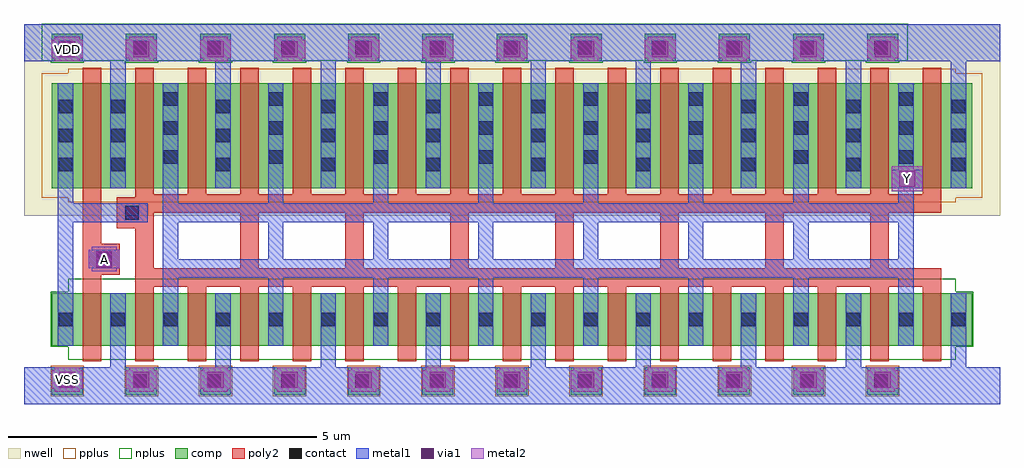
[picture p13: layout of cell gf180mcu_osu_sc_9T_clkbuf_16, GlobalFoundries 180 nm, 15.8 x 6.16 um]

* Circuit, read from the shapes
.subckt gf180mcu_osu_sc_9T_clkbuf_16 A VDD VSS Y
XM1 VSS A n1 VSS nfet_03v3 w=0.85u l=0.3u
XM2 Y n1 VSS VSS nfet_03v3 w=0.85u l=0.3u m=16
XM3 VDD A n1 VDD pfet_03v3 w=1.7u l=0.3u
XM4 Y n1 VDD VDD pfet_03v3 w=1.7u l=0.3u m=16
.ends

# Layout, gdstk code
import gdstk
lib = gdstk.Library(unit=1e-6, precision=1e-09)
def R(c, l, rs):  # rectangles x0, y0, x1, y1
    for r in rs: c.add(gdstk.rectangle(r[:2], r[2:], *l))
def A(c, l, x, y, w, h, nx, ny, dx, dy):  # array of equal rectangles
    R(c, l, [(x+i*dx, y+j*dy, x+i*dx+w, y+j*dy+h) for i in range(nx) for j in range(ny)])
nwell = (21, 0)
comp = (22, 0)
poly2 = (30, 0)
pplus = (31, 0)
nplus = (32, 0)
contact = (33, 0)
metal1 = (34, 0)
via1 = (35, 0)
metal2 = (36, 0)

gf180mcu_osu_sc_9t_clkbu = lib.new_cell('gf180mcu_osu_sc_9T_clkbuf_16')
R(gf180mcu_osu_sc_9t_clkbu, nwell, [(0,3.05,15.8,6.15)])
A(gf180mcu_osu_sc_9t_clkbu, comp, 0.45, 0.15, 0.5, 0.45, 12, 2, 1.2, 5.4)
R(gf180mcu_osu_sc_9t_clkbu, comp, [(0.45,0.95,15.35,1.8), (0.45,3.5,15.35,5.2)])
A(gf180mcu_osu_sc_9t_clkbu, poly2, 1.8, 0.7, 0.3, 1.2, 16, 1, 0.85, 0)
A(gf180mcu_osu_sc_9t_clkbu, poly2, 3.5, 2.2, 0.3, 0.9, 7, 1, 1.7, 0)
A(gf180mcu_osu_sc_9t_clkbu, poly2, 1.8, 3.4, 0.3, 2.05, 16, 1, 0.85, 0)
R(gf180mcu_osu_sc_9t_clkbu, poly2, [(0.95,0.7,1.25,2.1), (1.8,1.9,14.85,2.2), (0.95,2.1,1.55,2.6), (1.8,2.2,2.1,2.85), (0.95,2.6,1.25,5.45), (1.5,2.85,2.1,3.1), (1.5,3.1,14.85,3.35), (1.8,3.35,14.85,3.4)])
A(gf180mcu_osu_sc_9t_clkbu, pplus, 0.43, 0.13, 0.54, 0.49, 12, 1, 1.2, 0)
R(gf180mcu_osu_sc_9t_clkbu, pplus, [(0.72,3.27,15.08,3.34), (0.29,3.34,15.51,5.36), (0.72,5.36,15.08,5.43)])
A(gf180mcu_osu_sc_9t_clkbu, nplus, 0.43, 5.53, 0.54, 0.03, 12, 1, 1.2, 0)
R(gf180mcu_osu_sc_9t_clkbu, nplus, [(0.72,0.72,15.08,0.93), (0.43,0.93,15.37,1.82), (0.72,1.82,15.08,2.03), (0.29,5.56,14.31,6.16)])
A(gf180mcu_osu_sc_9t_clkbu, contact, 0.565, 0.265, 0.22, 0.22, 12, 2, 1.2, 5.4)
A(gf180mcu_osu_sc_9t_clkbu, contact, 0.565, 1.265, 0.22, 0.22, 18, 1, 0.85, 0)
A(gf180mcu_osu_sc_9t_clkbu, contact, 0.565, 3.77, 0.22, 0.22, 1, 3, 0, 0.47)
A(gf180mcu_osu_sc_9t_clkbu, contact, 1.415, 3.77, 0.22, 0.22, 9, 3, 1.7, 0.47)
A(gf180mcu_osu_sc_9t_clkbu, contact, 2.265, 3.895, 0.22, 0.22, 8, 3, 1.7, 0.47)
R(gf180mcu_osu_sc_9t_clkbu, contact, [(1.19,2.24,1.41,2.46), (1.64,2.99,1.86,3.21)])
A(gf180mcu_osu_sc_9t_clkbu, metal1, 1.4, 0.6, 0.25, 1.2, 9, 1, 1.7, 0)
A(gf180mcu_osu_sc_9t_clkbu, metal1, 2.25, 0.95, 0.25, 1.1, 8, 1, 1.7, 0)
A(gf180mcu_osu_sc_9t_clkbu, metal1, 2.25, 2.35, 0.25, 0.6, 8, 1, 1.7, 0)
A(gf180mcu_osu_sc_9t_clkbu, metal1, 0.55, 3.25, 0.25, 1.95, 8, 1, 1.7, 0)
A(gf180mcu_osu_sc_9t_clkbu, metal1, 1.4, 3.5, 0.25, 2.05, 9, 1, 1.7, 0)
R(gf180mcu_osu_sc_9t_clkbu, metal1, [(0,0,15.8,0.6), (0.55,0.95,0.8,2.95), (2.25,2.05,14.4,2.35), (1.05,2.2,1.55,2.5), (0.55,2.95,2,3.25), (2.25,2.95,14.4,3.25), (14.15,3.25,14.4,3.5), (14.05,3.5,14.55,3.8), (14.15,3.8,14.4,5.2), (0,5.55,15.8,6.15)])
A(gf180mcu_osu_sc_9t_clkbu, via1, 0.57, 0.27, 0.26, 0.26, 12, 2, 1.2, 5.35)
R(gf180mcu_osu_sc_9t_clkbu, via1, [(1.17,2.22,1.43,2.48), (14.17,3.52,14.43,3.78)])
A(gf180mcu_osu_sc_9t_clkbu, metal2, 0.5, 0.2, 0.4, 0.05, 12, 2, 1.2, 0.35)
A(gf180mcu_osu_sc_9t_clkbu, metal2, 0.45, 0.25, 0.5, 0.3, 12, 2, 1.2, 5.35)
A(gf180mcu_osu_sc_9t_clkbu, metal2, 0.5, 5.55, 0.4, 0.05, 12, 2, 1.2, 0.35)
R(gf180mcu_osu_sc_9t_clkbu, metal2, [(1.1,2.15,1.5,2.2), (1.05,2.2,1.55,2.5), (1.1,2.5,1.5,2.55), (14.05,3.45,14.55,3.85)])
gf180mcu_osu_sc_9t_clkbu.add(gdstk.Label('VDD', (0.7,5.75), layer=36, texttype=0))
gf180mcu_osu_sc_9t_clkbu.add(gdstk.Label('VSS', (0.7,0.4), layer=36, texttype=0))
gf180mcu_osu_sc_9t_clkbu.add(gdstk.Label('A', (1.3,2.35), layer=36, texttype=10))
gf180mcu_osu_sc_9t_clkbu.add(gdstk.Label('Y', (14.3,3.65), layer=36, texttype=10))

lib.write_gds('gf180mcu_osu_sc_9T_clkbuf_16.gds')
